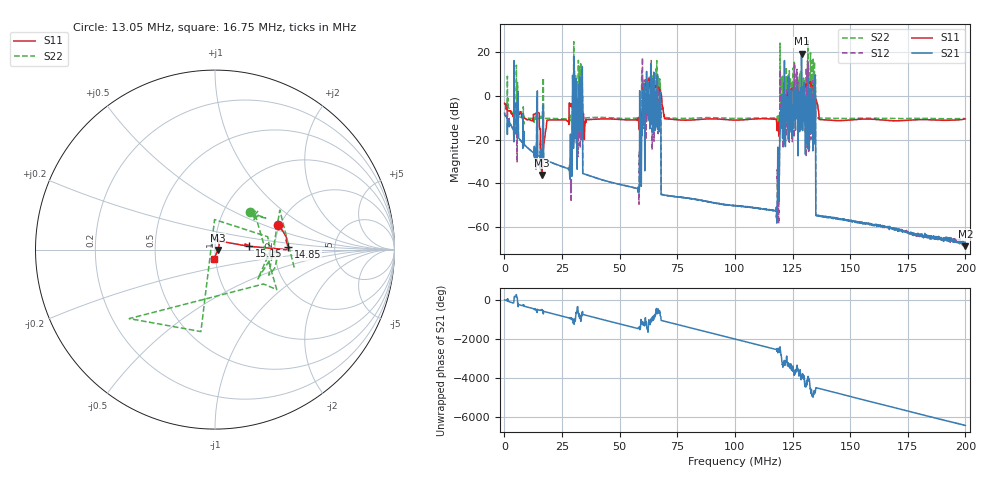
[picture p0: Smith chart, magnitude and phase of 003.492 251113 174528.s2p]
# HZ S DB R 50
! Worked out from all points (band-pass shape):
!   2000 points, 50 kHz to 200 MHz, reference 50 ohm
!   highest |S21| = 19.11 dB at 128.9 MHz (marker M1); lowest = -68.5 dB at 200 MHz (marker M2)
!   |S21| within 3 dB of the highest: 30.24667 MHz to 30.26505 MHz (18.38 kHz wide, 0.0608 % of centre); 128.8732 MHz to 128.9019 MHz (28.7 kHz wide, 0.0223 % of centre)
!   lowest |S11| = -36.2 dB at 16.15 MHz (marker M3), VSWR 1.03, Z = 51.6 - j0.208 ohm
!   |S11| at or under -10 dB: 34.31 MHz to 59.26 MHz (24.95 MHz wide, 53.3 % of centre); 69.36 MHz to 119.8 MHz (50.45 MHz wide, 53.3 % of centre); 136.5 MHz to end of sweep (the widest 3 of 5)
!   |S22| runs from -24.0 to 25.1 dB; largest |S21 - S12| = 8.5
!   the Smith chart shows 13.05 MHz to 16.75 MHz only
!   S11 on the Smith chart (normalised r, x): 13.05 MHz: 1.96, +0.62; 14.85 MHz: 2.38, +0.07; 15.15 MHz: 1.47, +0.05; 16.75 MHz: 0.98, -0.10
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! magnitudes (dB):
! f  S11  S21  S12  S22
! 50 kHz  -3.5  -8.0  -8.0  -3.5
! 13.05 MHz  -8.4  -27.9  -26.5  -10.8
! 14.85 MHz  -7.8  -27.5  -27.5  -10.4
! 15.15 MHz  -14.3  -27.7  -27.8  -10.4
! 16.15 MHz  -36.2  -29.5  -26.9  -8.9
! 16.75 MHz  -25.5  -13.3  -16.0  7.3
! 27.96 MHz  -13.2  -33.2  -32.9  -10.5
! 30.36 MHz  -7.3  -5.8  -12.1  11.1
! 33.46 MHz  -6.3  -2.3  -3.5  -17.3
! 34.96 MHz  -11.9  -35.8  -35.8  -10.2
! 57.36 MHz  -11.1  -42.2  -42.2  -10.2
! 60.67 MHz  4.3  -10.4  -11.0  5.1
! 66.77 MHz  3.5  -13.6  -9.7  6.1
! 68.97 MHz  -7.6  -45.2  -45.2  -10.0
! 100.1 MHz  -11.2  -50.0  -50.2  -10.4
! 117.4 MHz  -10.7  -52.5  -52.3  -10.2
! 120.8 MHz  -1.8  -9.3  -13.2  -1.4
! 128.9 MHz  0.9  19.1  -4.9  0.9
! 133.4 MHz  4.5  -4.8  -12.0  -11.7
! 136.1 MHz  -5.6  -54.4  -54.8  -10.2
! 166.7 MHz  -11.4  -59.7  -59.9  -10.5
! 200 MHz  -10.6  -68.5  -68.3  -10.4
